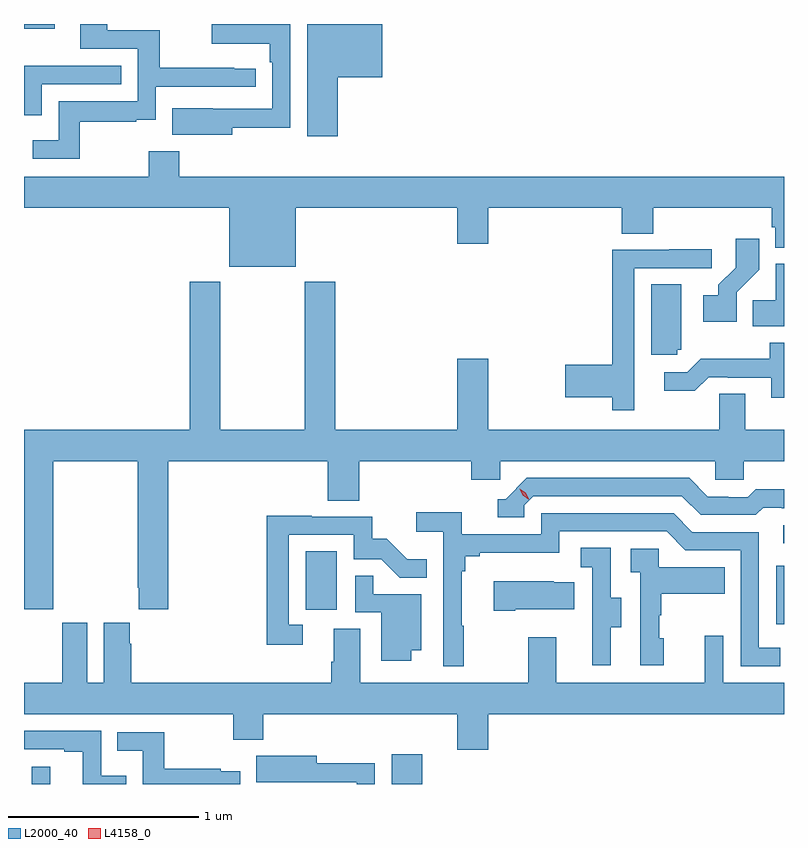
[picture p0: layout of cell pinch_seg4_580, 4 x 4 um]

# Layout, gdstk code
import gdstk
lib = gdstk.Library(unit=1e-6, precision=1e-09)
def R(c, l, rs):  # rectangles x0, y0, x1, y1
    for r in rs: c.add(gdstk.rectangle(r[:2], r[2:], *l))
def P(c, l, *ps):  # polygons
    for p in ps: c.add(gdstk.Polygon(p, *l))
L2000_40 = (2000, 40)
L4158_0 = (4158, 0)

pinch_seg4_580 = lib.new_cell('pinch_seg4_580')
R(pinch_seg4_580, L2000_40, [(1073.856,784.464,1073.953,784.555), (1075.751,784.464,1075.912,784.621), (1077.774,785.304,1077.816,785.614), (1075.298,785.382,1075.462,785.689), (1077.813,785.73,1077.816,785.826), (1073.816,788.438,1073.977,788.464)])
P(pinch_seg4_580, L2000_40, [(1074.109,787.95),(1074.407,787.95),(1074.407,787.961),(1074.51,787.961),(1074.51,788.133),(1075.036,788.133),(1075.036,788.229),(1074.923,788.229),(1074.923,788.234),(1074.53,788.234),(1074.53,788.43),(1074.253,788.43),(1074.253,788.464),(1074.113,788.464),(1074.113,788.334),(1074.414,788.334),(1074.414,788.058),(1073.998,788.058),(1073.998,787.852),(1073.863,787.852),(1073.863,787.755),(1074.109,787.755)],
  [(1075.468,788.183),(1075.702,788.183),(1075.702,788.464),(1075.307,788.464),(1075.307,787.872),(1075.468,787.872)],
  [(1074.913,787.918),(1075.218,787.918),(1075.218,788.464),(1074.804,788.464),(1074.804,788.36),(1075.109,788.36),(1075.109,788.264),(1075.122,788.264),(1075.122,788.019),(1074.809,788.019),(1074.809,788.02),(1074.595,788.02),(1074.595,787.88),(1074.913,787.88)],
  [(1073.91,788.148),(1074.329,788.148),(1074.329,788.244),(1073.816,788.244),(1073.816,787.985),(1073.91,787.985)],
  [(1075.246,787.496),(1076.096,787.496),(1076.096,787.308),(1076.26,787.308),(1076.26,787.496),(1076.963,787.496),(1076.963,787.36),(1077.128,787.36),(1077.128,787.496),(1077.751,787.496),(1077.751,787.395),(1077.771,787.395),(1077.771,787.286),(1077.816,787.286),(1077.816,787.66),(1074.632,787.66),(1074.632,787.795),(1074.472,787.795),(1074.472,787.66),(1073.816,787.66),(1073.816,787.496),(1074.896,787.496),(1074.896,787.187),(1075.246,787.187)],
  [(1077.567,787.051),(1077.686,787.17),(1077.686,787.333),(1077.561,787.333),(1077.561,787.181),(1077.47,787.091),(1077.47,787.036),(1077.39,787.036),(1077.39,786.896),(1077.567,786.896)],
  [(1077.028,786.654),(1077.027,786.654),(1077.027,787.179),(1077.436,787.179),(1077.436,787.278),(1077.211,787.278),(1077.211,787.275),(1076.911,787.275),(1076.911,786.671),(1076.664,786.671),(1076.664,786.5),(1076.911,786.5),(1076.911,786.432),(1077.028,786.432)],
  [(1077.816,787.201),(1077.773,787.201),(1077.773,787.01),(1077.652,787.01),(1077.652,786.872),(1077.816,786.872)],
  [(1076.26,786.703),(1076.096,786.703),(1076.096,786.328),(1075.454,786.328),(1075.454,787.108),(1075.294,787.108),(1075.294,786.328),(1074.849,786.328),(1074.849,787.108),(1074.689,787.108),(1074.689,786.328),(1073.816,786.328),(1073.816,785.385),(1073.97,785.385),(1073.97,786.164),(1074.415,786.164),(1074.415,785.497),(1074.419,785.497),(1074.419,785.385),(1074.575,785.385),(1074.575,786.164),(1075.415,786.164),(1075.415,785.956),(1075.58,785.956),(1075.58,786.164),(1076.171,786.164),(1076.171,786.066),(1076.322,786.066),(1076.322,786.164),(1077.453,786.164),(1077.453,786.066),(1077.603,786.066),(1077.603,786.164),(1077.816,786.164),(1077.816,786.328),(1077.613,786.328),(1077.613,786.518),(1077.474,786.518),(1077.474,786.328),(1076.26,786.328)],
  [(1077.255,786.75),(1077.274,786.75),(1077.274,787.094),(1077.116,787.094),(1077.116,786.723),(1077.255,786.723)],
  [(1077.816,786.787),(1077.742,786.787),(1077.742,786.703),(1077.379,786.703),(1077.306,786.63),(1077.186,786.63),(1077.186,786.533),(1077.347,786.533),(1077.42,786.606),(1077.52,786.606),(1077.52,786.603),(1077.749,786.603),(1077.749,786.498),(1077.816,786.498)],
  [(1076.448,785.931),(1076.496,785.979),(1077.279,785.979),(1077.378,785.88),(1077.667,785.88),(1077.706,785.919),(1077.805,785.919),(1077.805,785.916),(1077.816,785.916),(1077.816,786.016),(1077.667,786.016),(1077.625,785.973),(1077.522,785.973),(1077.522,785.976),(1077.415,785.976),(1077.316,786.075),(1076.463,786.075),(1076.352,785.964),(1076.309,785.964),(1076.309,785.868),(1076.448,785.868)],
  [(1076.131,785.297),(1076.119,785.297),(1076.119,785.585),(1076.138,785.585),(1076.138,785.662),(1076.215,785.662),(1076.215,785.681),(1076.634,785.681),(1076.634,785.793),(1077.198,785.793),(1077.297,785.694),(1077.588,785.694),(1077.588,785.085),(1077.797,785.085),(1077.797,785.181),(1077.684,785.181),(1077.684,785.79),(1077.334,785.79),(1077.235,785.889),(1076.538,785.889),(1076.538,785.778),(1076.12,785.778),(1076.12,785.894),(1075.881,785.894),(1075.881,785.792),(1076.022,785.792),(1076.022,785.085),(1076.131,785.085)],
  [(1075.282,785.301),(1075.209,785.301),(1075.209,785.775),(1075.551,785.775),(1075.551,785.646),(1075.696,785.646),(1075.793,785.549),(1075.937,785.549),(1075.937,785.647),(1075.833,785.647),(1075.726,785.754),(1075.65,785.754),(1075.65,785.871),(1075.331,785.871),(1075.331,785.876),(1075.093,785.876),(1075.093,785.196),(1075.282,785.196)],
  [(1076.905,785.29),(1076.959,785.29),(1076.959,785.445),(1076.904,785.445),(1076.904,785.708),(1076.745,785.708),(1076.745,785.605),(1076.808,785.605),(1076.808,785.301),(1076.807,785.301),(1076.807,785.088),(1076.905,785.088)],
  [(1077.184,785.232),(1077.159,785.232),(1077.159,785.351),(1077.169,785.351),(1077.169,785.465),(1077.503,785.465),(1077.503,785.605),(1077.156,785.605),(1077.156,785.703),(1077.009,785.703),(1077.009,785.579),(1077.06,785.579),(1077.06,785.088),(1077.184,785.088)],
  [(1075.855,785.168),(1075.906,785.168),(1075.906,785.463),(1075.655,785.463),(1075.655,785.561),(1075.56,785.561),(1075.56,785.367),(1075.697,785.367),(1075.697,785.112),(1075.855,785.112)],
  [(1076.401,785.384),(1076.711,785.384),(1076.711,785.527),(1076.603,785.527),(1076.603,785.53),(1076.289,785.53),(1076.289,785.377),(1076.401,785.377)],
  [(1076.26,784.832),(1077.816,784.832),(1077.816,784.996),(1077.495,784.996),(1077.495,785.245),(1077.398,785.245),(1077.398,784.996),(1076.617,784.996),(1076.617,785.236),(1076.47,785.236),(1076.47,784.996),(1075.585,784.996),(1075.585,785.282),(1075.445,785.282),(1075.445,785.108),(1075.433,785.108),(1075.433,784.996),(1074.38,784.996),(1074.38,785.201),(1074.373,785.201),(1074.373,785.314),(1074.236,785.314),(1074.236,784.996),(1074.148,784.996),(1074.148,785.314),(1074.017,785.314),(1074.017,784.996),(1073.816,784.996),(1073.816,784.832),(1074.916,784.832),(1074.916,784.697),(1075.076,784.697),(1075.076,784.832),(1076.096,784.832),(1076.096,784.644),(1076.26,784.644)],
  [(1074.354,784.507),(1074.222,784.507),(1074.222,784.743),(1073.816,784.743),(1073.816,784.647),(1074.029,784.647),(1074.029,784.635),(1074.125,784.635),(1074.125,784.464),(1074.354,784.464)],
  [(1074.954,784.531),(1074.851,784.531),(1074.851,784.543),(1074.553,784.543),(1074.553,784.737),(1074.307,784.737),(1074.307,784.64),(1074.442,784.64),(1074.442,784.464),(1074.954,784.464)],
  [(1075.662,784.574),(1075.357,784.574),(1075.357,784.612),(1075.039,784.612),(1075.039,784.472),(1075.253,784.472),(1075.253,784.473),(1075.566,784.473),(1075.566,784.464),(1075.662,784.464)])
P(pinch_seg4_580, L4158_0, [(1076.471,785.964),(1076.441,785.985),(1076.426,786.018),(1076.426,786.018),(1076.426,786.018),(1076.456,785.998),(1076.472,785.965),(1076.472,785.964)])

lib.write_gds('pinch_seg4_580.gds')
